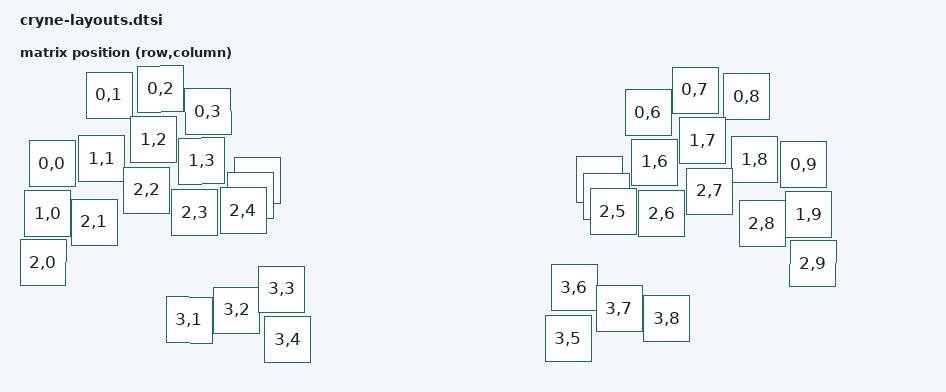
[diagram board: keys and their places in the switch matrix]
#include <physical_layouts.dtsi>
#include <dt-bindings/zmk/matrix_transform.h>

/ {
    cryne_layout: cryne_layout {
        compatible = "zmk,physical-layout";
        display-name = "Cryne Default";
        
        transform = <&cryne_transform>;
        kscan = <&kscan0>;
        
        keys  //                 w   h    x    y     rot   rx   ry
            // Row 0 (top)
            = <&key_physical_attrs 100 100   19  (-102)  5    0    0>  // Q
            , <&key_physical_attrs 100 100  134  (-238) (-8)  0    0>  // W
            , <&key_physical_attrs 100 100  237  (-250) (-8)  0    0>  // E
            , <&key_physical_attrs 100 100  331  (-205) (-8)  0    0>  // R
            , <&key_physical_attrs 100 100  429  (-67)  (-8)  0    0>  // T
            , <&key_physical_attrs 100 100 1113  (-67)  (-8)  0    0>  // Y
            , <&key_physical_attrs 100 100 1211  (-205)  8    0    0>  // U
            , <&key_physical_attrs 100 100 1305  (-250)  8    0    0>  // I
            , <&key_physical_attrs 100 100 1408  (-238)  8    0    0>  // O
            , <&key_physical_attrs 100 100 1522  (-102)  8    0    0>  // P
            // Row 1 (home)
            , <&key_physical_attrs 100 100   10  (-2)    5    0    0>  // A
            , <&key_physical_attrs 100 100  118  (-111) (-8)  0    0>  // S
            , <&key_physical_attrs 100 100  222  (-149) (-8)  0    0>  // D
            , <&key_physical_attrs 100 100  318  (-106) (-8)  0    0>  // F
            , <&key_physical_attrs 100 100  415  (-37)  (-8)  0    0>  // G
            , <&key_physical_attrs 100 100 1127  (-37)   8    0    0>  // H
            , <&key_physical_attrs 100 100 1224  (-106)  8    0    0>  // J
            , <&key_physical_attrs 100 100 1320  (-149)  8    0    0>  // K
            , <&key_physical_attrs 100 100 1424  (-111)  8    0    0>  // L
            , <&key_physical_attrs 100 100 1532  (-2)    8    0    0>  // ;
            // Row 2 (bottom)
            , <&key_physical_attrs 100 100    1   97     5    0    0>  // Z
            , <&key_physical_attrs 100 100  103   16   (-8)   0    0>  // X
            , <&key_physical_attrs 100 100  208  (-48)  (-8)  0    0>  // C
            , <&key_physical_attrs 100 100  304  (-3)   (-8)  0    0>  // V
            , <&key_physical_attrs 100 100  401   (-7)  (-8)  0    0>  // B
            , <&key_physical_attrs 100 100 1141  (-7)    8    0    0>  // N
            , <&key_physical_attrs 100 100 1238  (-3)    8    0    0>  // M
            , <&key_physical_attrs 100 100 1334  (-48)   8    0    0>  // ,
            , <&key_physical_attrs 100 100 1439   16     8    0    0>  // .
            , <&key_physical_attrs 100 100 1541   97     8    0    0>  // /
            // Row 3 (thumbs)
            , <&key_physical_attrs 100 100  294  211     8    0    0>  // GUI
            , <&key_physical_attrs 100 100  389  191     8    0    0>  // LWR
            , <&key_physical_attrs 100 100  479  149     8    0    0>  // SPC
            , <&key_physical_attrs 100 100  491  250     8    0    0>  // BSPC
            , <&key_physical_attrs 100 100 1051  250   (-8)   0    0>  // ENT
            , <&key_physical_attrs 100 100 1063  149   (-8)   0    0>  // RSE
            , <&key_physical_attrs 100 100 1153  191   (-8)   0    0>  // ALT
            , <&key_physical_attrs 100 100 1248  211   (-8)   0    0>  // Ctrl
            ;
    };
    
    cryne_transform: cryne_transform {
        compatible = "zmk,matrix-transform";
        columns = <10>;
        rows = <4>;
        map = <
          //  Left side: Row 0 (5 keys)            //  Right side: Row 0 (5 keys)
          RC(0,0) RC(0,1) RC(0,2) RC(0,3) RC(0,4)  RC(0,5) RC(0,6) RC(0,7) RC(0,8) RC(0,9)
          //  Left side: Row 1 (5 keys)            //  Right side: Row 1 (5 keys)
          RC(1,0) RC(1,1) RC(1,2) RC(1,3) RC(1,4)  RC(1,5) RC(1,6) RC(1,7) RC(1,8) RC(1,9)
          //  Left side: Row 2 (5 keys)            //  Right side: Row 2 (5 keys)
          RC(2,0) RC(2,1) RC(2,2) RC(2,3) RC(2,4)  RC(2,5) RC(2,6) RC(2,7) RC(2,8) RC(2,9)
          //  Left side: Row 3 (4 keys)            //  Right side: Row 3 (4 keys)
          /*    */RC(3,1) RC(3,2) RC(3,3) RC(3,4)  RC(3,5) RC(3,6) RC(3,7) RC(3,8)
        >;
    };
};
